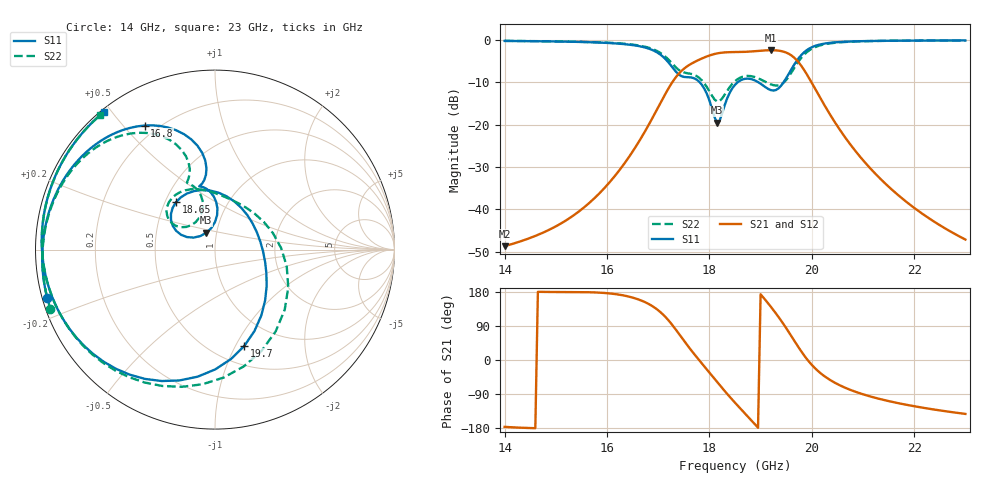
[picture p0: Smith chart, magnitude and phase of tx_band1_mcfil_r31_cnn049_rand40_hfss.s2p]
! Touchstone file exported from HFSS 3D Layout Design 2026.1.0
!  File:  D:/Work/SIM/ADS_AUTO_SIM/projects/RFSOC_RF/TX_Fillter.aedt
!  Generated:  02:32:54 AM Aug 31, 2026
!  Design:  TX_BAND1_MCFIL_R31_CNN049
!  Project:  TX_Fillter
# GHz S MA R 50.000000
! Terminal data exported
! Port[1] = Port1
! Port[2] = Port2
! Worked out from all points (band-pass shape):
!   181 points, 14 GHz to 23 GHz, reference 50 ohm
!   highest |S21| = -2.43 dB at 19.2 GHz (marker M1); lowest = -48.7 dB at 14 GHz (marker M2)
!   |S21| within 3 dB of the highest: 17.68 GHz to 19.75 GHz (2.076 GHz wide, 11.1 % of centre)
!   lowest |S11| = -19.6 dB at 18.15 GHz (marker M3), VSWR 1.24, Z = 44.6 + j8.45 ohm
!   |S11| at or under -10 dB: 17.81 GHz to 18.55 GHz (741.1 MHz wide, 4.08 % of centre); 18.96 GHz to 19.45 GHz (493.2 MHz wide, 2.57 % of centre)
!   |S22| runs from -14.6 to -0.1 dB; largest |S21 - S12| = 1.4e-14
!   S11 on the Smith chart (normalised r, x): 14 GHz: 0.01, -0.14; 16.8 GHz: 0.15, +0.57; 18.65 GHz: 0.57, +0.34; 19.7 GHz: 0.70, -1.09; 23 GHz: 0.01, +0.48
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14  0.9729 -163.9  0.003676 -176.5  0.003676 -176.5  0.9744 -160.3
15.5  0.9454 165.2  0.009953 179.2  0.009953 179.2  0.9493 170.1
16.25  0.9014 143.4  0.02939 172.1  0.02939 172.1  0.9097 149.8
16.8  0.7948 119.6  0.09594 148.9  0.09594 148.9  0.814 128.1
17  0.6991 108.0  0.1605 131.2  0.1605 131.2  0.7276 117.8
17.25  0.4984 96.2  0.2996 96.7  0.2996 96.7  0.545 107.3
17.5  0.3662 103.1  0.4555 51.5  0.4555 51.5  0.4129 111.7
17.85  0.2966 91.4  0.6026 -8.7  0.6026 -8.7  0.3342 105.6
18.15  0.1053 117.2  0.6929 -57.9  0.6929 -57.9  0.1873 124.8
18.3  0.1707 155.9  0.7124 -82.1  0.7124 -82.1  0.2264 146.6
18.5  0.2952 146.1  0.7185 -112.7  0.7185 -112.7  0.3257 144.8
18.65  0.3421 129.5  0.7212 -134.6  0.7212 -134.6  0.3679 134.3
18.95  0.3179 86.6  0.7413 -178.8  0.7413 -178.8  0.353 107.3
19.2  0.2554 35.2  0.7559 140.6  0.7559 140.6  0.2988 79.5
19.45  0.3168 -25.2  0.726 94.2  0.726 94.2  0.313 29.4
19.7  0.5603 -73.0  0.5815 42.0  0.5815 42.0  0.5125 -40.7
19.85  0.7144 -97.8  0.4415 12.1  0.4415 12.1  0.6703 -76.2
20  0.8194 -118.5  0.3112 -12.8  0.3112 -12.8  0.7865 -103.6
20.25  0.9052 -143.7  0.1685 -43.0  0.1685 -43.0  0.8875 -134.8
20.55  0.9449 -163.8  0.08657 -67.0  0.08657 -67.0  0.9364 -158.4
21.5  0.9774 160.3  0.01853 -108.4  0.01853 -108.4  0.9761 162.7
23  0.9852 128.9  0.004401 -142.3  0.004401 -142.3  0.985 130.4
